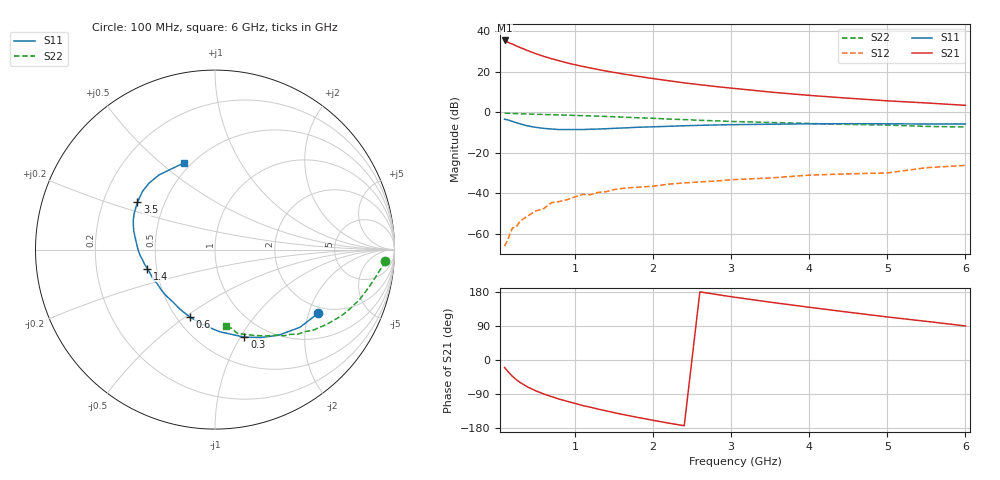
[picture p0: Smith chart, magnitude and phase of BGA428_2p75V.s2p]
!  INFINEON TECHNOLOGIES Small Signal Semiconductors
!  BGA428
!  Vbias=2.75 V
!  Common Emitter S-Parameters:  02. August 1999
#  GHz  S  MA  R  50
! f  S11  S21  S12  S22
! GHz  Mag  Ang  Mag  Ang  Mag  Ang  Mag  Ang
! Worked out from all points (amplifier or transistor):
!   33 points, 100 MHz to 6 GHz, reference 50 ohm
!   highest |S21| = 35.4 dB at 100 MHz (marker M1)
!   |S21| within 3 dB of that: start of sweep to 268.7 MHz
!   unconditionally stable (mu >= 1): start of sweep to end of sweep
!   at 400 MHz: K = 1.10, MAG = 38.7 dB, |S12| = -51.1 dB
!   at 1.5 GHz: K = 1.74, MAG = 23.9 dB, |S12| = -38.1 dB
!   at 6 GHz: K = 4.28, MAG = 5.5 dB, |S12| = -26.2 dB
!   S11 on the Smith chart (normalised r, x): 100 MHz: 1.77, -2.31; 300 MHz: 0.78, -1.04; 600 MHz: 0.58, -0.52; 1.4 GHz: 0.44, -0.11; 3.5 GHz: 0.35, +0.25; 6 GHz: 0.46, +0.60
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0.1  0.6756 -31.7  58.77 -19.6  0.0005 153.5  0.9491 -3.9
0.15  0.6412 -42.5  52.06 -32.5  0.0008 104.2  0.9428 -5.1
0.2  0.5936 -53.6  47.81 -43.1  0.0014 138.4  0.9327 -6.3
0.25  0.5519 -62.5  43.1 -51.9  0.0015 142.6  0.9247 -7.3
0.3  0.515 -71.4  39.23 -59.5  0.0021 119.0  0.9174 -8.3
0.4  0.4587 -86.6  32.74 -71.8  0.0028 104.9  0.9035 -10.3
0.5  0.4242 -99.2  27.72 -81.3  0.0037 113.5  0.8925 -12.1
0.6  0.4004 -110.7  23.87 -89.6  0.0042 105.9  0.8807 -14.0
0.7  0.3855 -120.2  20.91 -96.6  0.0059 103.2  0.8702 -15.8
0.8  0.3743 -129.1  18.51 -103.2  0.0063 94.3  0.8593 -17.7
0.9  0.3743 -136.6  16.47 -109.0  0.007 98.3  0.8485 -19.7
1.1  0.3743 -149.9  13.48 -120.1  0.0094 89.1  0.824 -23.3
1.4  0.3922 -164.4  10.35 -134.2  0.011 85.3  0.7865 -28.7
1.6  0.4086 -172.4  8.879 -143.2  0.0132 79.4  0.7597 -32.2
1.8  0.4265 -178.9  7.732 -151.4  0.0141 79.4  0.7309 -36.0
2.2  0.4505 171.2  5.976 -166.6  0.0169 75.2  0.6791 -42.3
2.4  0.464 167.2  5.298 -173.5  0.0181 73.2  0.6593 -45.6
2.8  0.4849 159.7  4.31 173.4  0.0201 69.6  0.6148 -51.4
3.5  0.5064 148.6  3.144 152.6  0.024 65.6  0.5599 -59.2
4.5  0.5218 134.9  2.219 126.2  0.0303 62.1  0.5014 -70.5
5.5  0.5117 119.8  1.694 102.0  0.043 68.0  0.4476 -78.2
6  0.5128 110.0  1.479 89.9  0.0489 56.0  0.4323 -81.7
